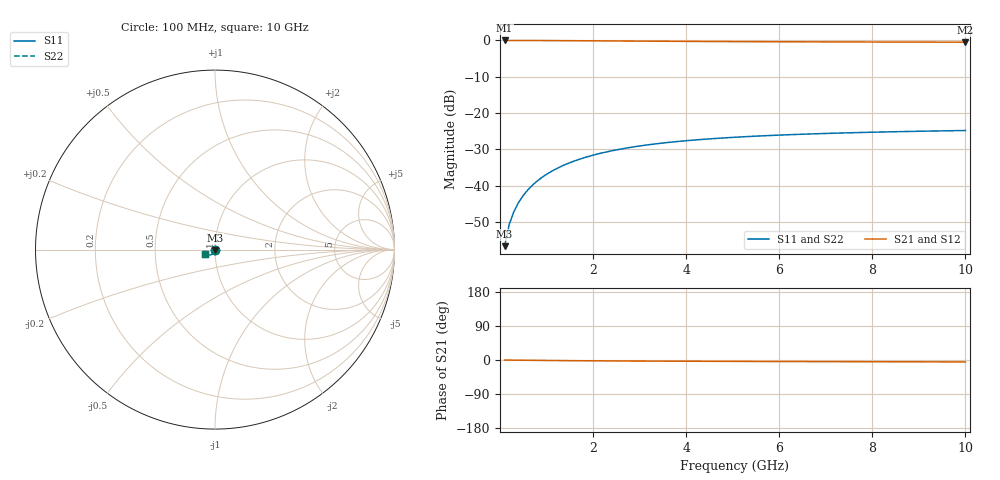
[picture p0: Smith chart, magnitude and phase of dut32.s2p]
! Touchstone file exported from HFSS 2024.1.0
!  File:  C:/UserFiles/LocalFiles/RDL_TSV_Batchsim/temp_TSV1_32_1779370239.aedt
!  Generated:  09:36:11 PM May 21, 2026
!  Design:  TSV1
!  Project:  temp_TSV1_32_1779370239
!  Setup:  Setup1
!  Solution:  Sweep
! Variables:
!  dtsv = 11.54um
!  hbump = 3um
!  htsv = 79.24um
!  lrdl = 252.1521522um
!  p = 40
!  p1 = 40.76um
!  t = 500um
!  trdl = 3um
!  wrdl = 24.89489489um
# GHz S MA R 50.000000
! Terminal data exported
! Port[1] = TSV22_T1
! Port[2] = TSV22_T2
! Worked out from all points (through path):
!   100 points, 100 MHz to 10 GHz, reference 50 ohm
!   highest |S21| = 0.00 dB at 100 MHz (marker M1); lowest = -0.5 dB at 10 GHz (marker M2)
!   lowest |S11| = -56.7 dB at 100 MHz (marker M3), VSWR 1.00, Z = 50 - j0.147 ohm
!   |S11| at or under -10 dB: start of sweep to end of sweep
!   |S22| runs from -56.7 to -24.8 dB; largest |S21 - S12| = 4e-15
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0.1  0.001467 -87.1  0.9998 -0.1  0.9998 -0.1  0.001467 -87.1
! Gamma 0 0 0 0
! Port Impedance 50 0 50 0
0.2  0.002935 -90.5  0.9997 -0.2  0.9997 -0.2  0.002935 -90.5
0.3  0.004405 -92.6  0.9995 -0.4  0.9995 -0.4  0.004405 -92.6
0.4  0.005869 -94.4  0.9993 -0.5  0.9993 -0.5  0.005869 -94.4
0.5  0.007322 -96.1  0.9989 -0.6  0.9989 -0.6  0.007322 -96.1
0.6  0.00876 -97.7  0.9985 -0.7  0.9985 -0.7  0.00876 -97.7
0.7  0.01018 -99.2  0.998 -0.9  0.998 -0.9  0.01018 -99.2
0.8  0.01158 -100.7  0.9975 -1.0  0.9975 -1.0  0.01158 -100.7
0.9  0.01296 -102.2  0.9969 -1.1  0.9969 -1.1  0.01296 -102.2
1.1  0.01564 -105.0  0.9956 -1.3  0.9956 -1.3  0.01564 -105.0
1.4  0.01947 -109.0  0.9933 -1.6  0.9933 -1.6  0.01947 -109.0
1.6  0.02186 -111.6  0.9916 -1.8  0.9916 -1.8  0.02186 -111.6
1.8  0.02413 -114.0  0.9899 -2.0  0.9899 -2.0  0.02413 -114.0
2.1  0.0273 -117.4  0.9872 -2.2  0.9872 -2.2  0.0273 -117.4
2.5  0.03109 -121.6  0.9836 -2.5  0.9836 -2.5  0.03109 -121.6
2.9  0.03442 -125.5  0.98 -2.7  0.98 -2.7  0.03442 -125.4
3.4  0.038 -129.7  0.9758 -3.0  0.9758 -3.0  0.038 -129.7
4.2  0.04263 -135.4  0.9698 -3.4  0.9698 -3.4  0.04263 -135.4
5.1  0.04662 -140.6  0.9641 -3.7  0.9641 -3.7  0.04662 -140.6
6.7  0.05162 -147.7  0.9564 -4.2  0.9564 -4.2  0.05162 -147.7
8.4  0.05516 -153.3  0.9507 -4.7  0.9507 -4.7  0.05516 -153.3
10  0.05747 -157.5  0.9469 -5.1  0.9469 -5.1  0.05747 -157.5
